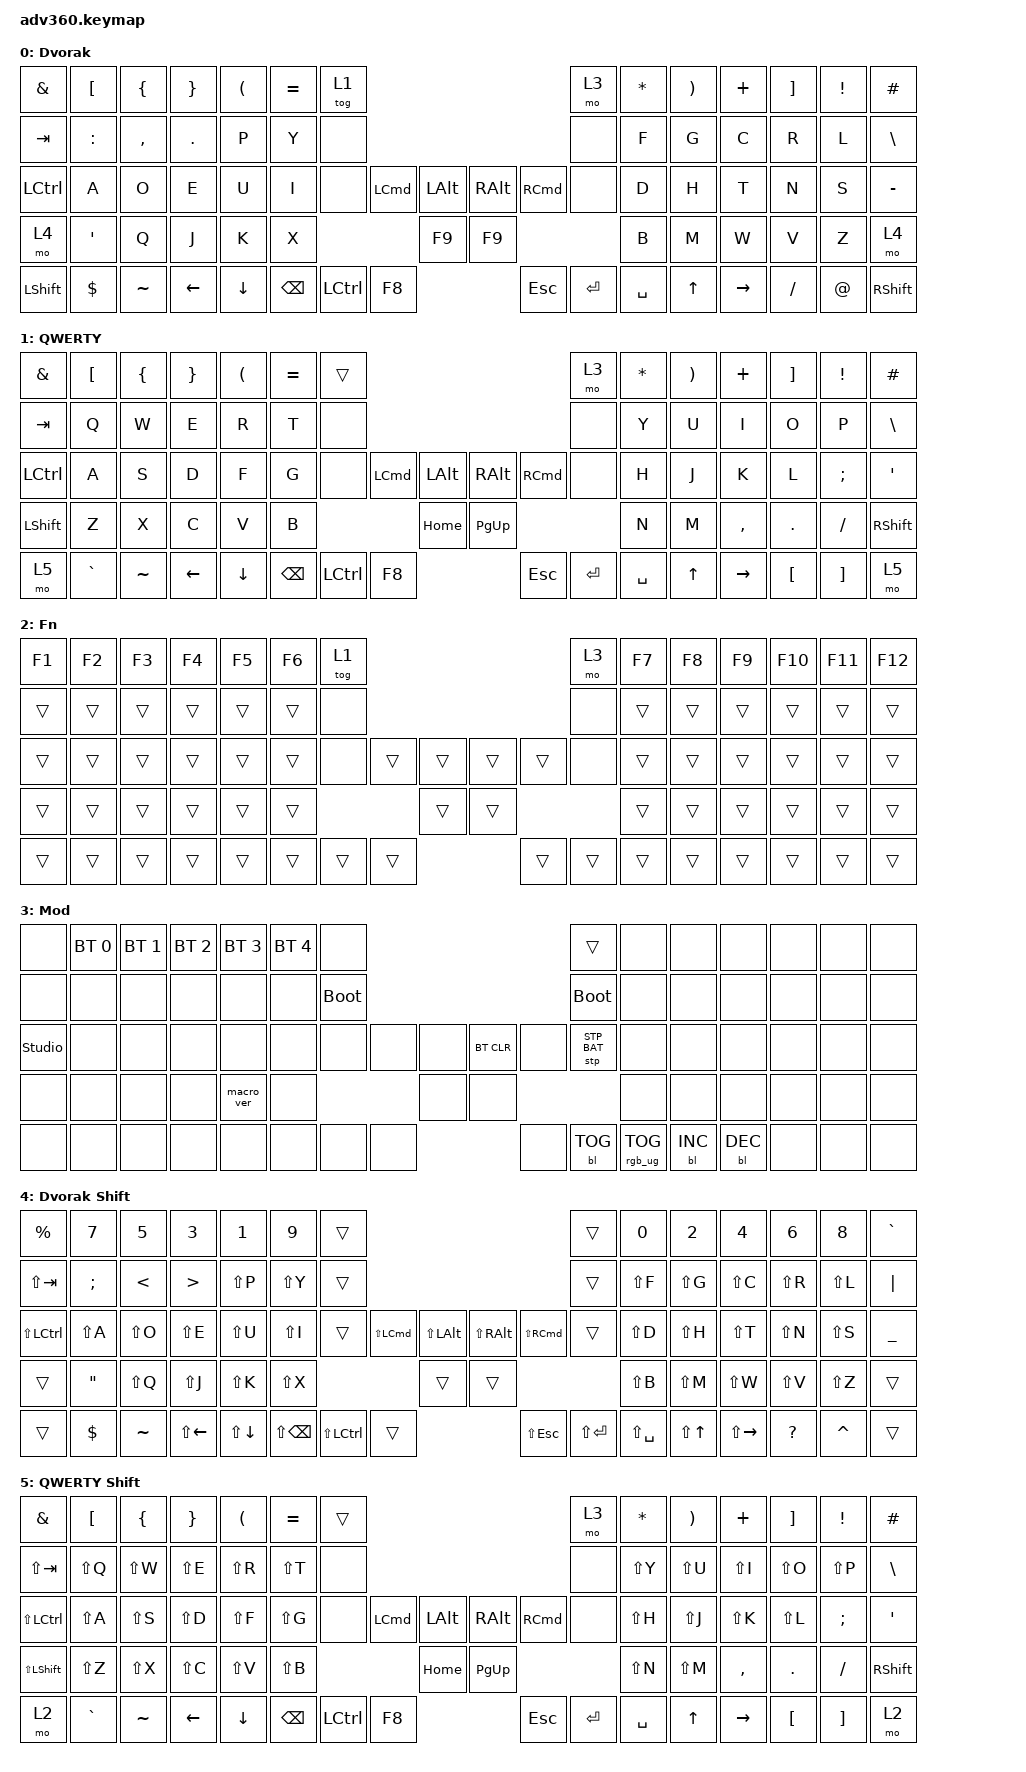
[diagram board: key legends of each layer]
#include <behaviors.dtsi>
#include <dt-bindings/zmk/keys.h>
#include <dt-bindings/zmk/bt.h>
#include <dt-bindings/zmk/rgb.h>
#include <dt-bindings/zmk/stp.h>
#include <dt-bindings/zmk/backlight.h>
#include <dt-bindings/zmk/pointing.h>

/ {
    behaviors {
      #include "macros.dtsi"
      #include "version.dtsi"

      hm: homerow_mods {
          compatible = "zmk,behavior-hold-tap";
          label = "HOMEROW_MODS";
          #binding-cells = <2>;
          tapping-term-ms = <200>;
          quick_tap_ms = <175>;
          flavor = "tap-preferred";
          bindings = <&kp>, <&kp>;
      };
    };

  keymap {
    compatible = "zmk,keymap";

    default_layer {
      display-name = "Dvorak";
      bindings = <
        &kp AMPERSAND &kp LEFT_BRACKET  &kp LEFT_BRACE  &kp RIGHT_BRACE     &kp LEFT_PARENTHESIS &kp EQUAL    &tog 1                                                                                             &mo 3  &kp ASTRK    &kp RIGHT_PARENTHESIS &kp PLUS      &kp RIGHT_BRACKET &kp EXCLAMATION &kp HASH
        &kp TAB       &kp COLON         &kp COMMA       &kp DOT             &kp P                &kp Y        &none                                                                                              &none  &kp F        &kp G                 &kp C         &kp R             &kp L           &kp BSLH
        &kp LCTRL     &kp A             &kp O           &kp E               &kp U                &kp I        &none               &kp LCMD      &kp LALT                    &kp RALT     &kp RCMD                &none  &kp D        &kp H                 &kp T         &kp N             &kp S           &kp MINUS
        &mo 4         &kp SINGLE_QUOTE  &kp Q           &kp J               &kp K                &kp X                                          &kp F9                      &kp F9                                      &kp B        &kp M                 &kp W         &kp V             &kp Z           &mo 4
        &kp LSHIFT    &kp DOLLAR        &kp TILDE       &kp LEFT            &kp DOWN                                 &kp BSPC     &kp LCTRL     &kp F8                      &kp ESCAPE   &kp ENTER     &kp SPACE                     &kp UP                &kp RIGHT     &kp SLASH         &kp AT          &kp RSHIFT
      >;
    };
    keypad {
      display-name = "QWERTY";
      bindings = <
        &kp AMPERSAND &kp LEFT_BRACKET  &kp LEFT_BRACE  &kp RIGHT_BRACE     &kp LEFT_PARENTHESIS &kp EQUAL    &trans                                                                                             &mo 3  &kp ASTRK    &kp RIGHT_PARENTHESIS &kp PLUS      &kp RIGHT_BRACKET &kp EXCLAMATION &kp HASH
        &kp TAB       &kp Q             &kp W           &kp E               &kp R                &kp T        &none                                                                                              &none  &kp Y        &kp U                 &kp I         &kp O             &kp P           &kp BSLH
        &kp LCTRL     &kp A             &kp S           &kp D               &kp F                &kp G        &none               &kp LCMD      &kp LALT                    &kp RALT     &kp RCMD                &none  &kp H        &kp J                 &kp K         &kp L             &kp SEMI        &kp SQT
        &kp LSHFT     &kp Z             &kp X           &kp C               &kp V                &kp B                                          &kp HOME                    &kp PG_UP                                   &kp N        &kp M                 &kp COMMA     &kp DOT           &kp FSLH        &kp RSHFT
        &mo 5         &kp GRAVE         &kp TILDE       &kp LEFT            &kp DOWN                                 &kp BSPC     &kp LCTRL     &kp F8                      &kp ESCAPE   &kp ENTER     &kp SPACE                     &kp UP                &kp RIGHT     &kp LBKT          &kp RBKT        &mo 5
      >;
    };
    fn {
      display-name = "Fn";
      bindings = <
        &kp F1 &kp F2 &kp F3 &kp F4 &kp F5 &kp F6 &tog 1                                           &mo 3 &kp F7 &kp F8 &kp F9 &kp F10 &kp F11 &kp F12
        &trans &trans &trans &trans &trans &trans  &none                                           &none &trans &trans &trans &trans  &trans  &trans
        &trans &trans &trans &trans &trans &trans  &none        &trans &trans &trans &trans        &none &trans &trans &trans &trans  &trans  &trans
        &trans &trans &trans &trans &trans &trans                      &trans &trans                     &trans &trans &trans &trans  &trans  &trans
        &trans &trans &trans &trans &trans               &trans &trans &trans &trans &trans &trans              &trans &trans &trans  &trans  &trans
      >;
    };
    mod {
      display-name = "Mod";
      bindings = <
        &none &bt BT_SEL 0 &bt BT_SEL 1 &bt BT_SEL 2 &bt BT_SEL 3 &bt BT_SEL 4 &none                                                                     &trans                 &none        &none        &none        &none &none &none
        &none &none        &none        &none        &none        &none        &bootloader                                                               &bootloader            &none        &none        &none        &none &none &none
        &studio_unlock &none        &none        &none        &none        &none        &none                   &none &none &bt BT_CLR &none                      &stp STP_BAT &none        &none        &none        &none &none &none
        &none &none        &none        &none        &macro_ver   &none                                      &none &none                                                        &none        &none        &none        &none &none &none
        &none &none        &none        &none        &none                                       &none &none &none &none      &bl BL_TOG &rgb_ug RGB_TOG                                     &bl BL_INC   &bl BL_DEC   &none &none &none
      >;
    };
    shift {
      display-name = "Dvorak Shift";
      bindings = <
        &kp PERCENT   &kp NUMBER_7      &kp NUMBER_5    &kp NUMBER_3        &kp NUMBER_1         &kp NUMBER_9 &trans                                                                                             &trans &kp NUMBER_0 &kp NUMBER_2          &kp NUMBER_4  &kp NUMBER_6      &kp NUMBER_8    &kp GRAVE
        &kp LS(TAB)   &kp SEMICOLON     &kp LESS_THAN   &kp GREATER_THAN    &kp LS(P)            &kp LS(Y)    &trans                                                                                             &trans &kp LS(F)    &kp LS(G)             &kp LS(C)     &kp LS(R)         &kp LS(L)       &kp PIPE
        &kp LS(LCTRL) &kp LS(A)         &kp LS(O)       &kp LS(E)           &kp LS(U)            &kp LS(I)    &trans              &kp LS(LCMD)  &kp LS(LALT)                &kp LS(RALT) &kp LS(RCMD)            &trans &kp LS(D)    &kp LS(H)             &kp LS(T)     &kp LS(N)         &kp LS(S)       &kp UNDERSCORE
        &trans        &kp DOUBLE_QUOTES &kp LS(Q)       &kp LS(J)           &kp LS(K)            &kp LS(X)                                      &trans                      &trans                                      &kp LS(B)    &kp LS(M)             &kp LS(W)     &kp LS(V)         &kp LS(Z)       &trans
        &trans        &kp DOLLAR        &kp TILDE       &kp LS(LEFT)        &kp LS(DOWN)                             &kp LS(BSPC) &kp LS(LCTRL) &trans                      &kp LS(ESC)  &kp LS(ENTER) &kp LS(SPACE)                 &kp LS(UP)            &kp LS(RIGHT) &kp QUESTION      &kp CARET       &trans
      >;
    };
    shift_2 {
      display-name = "QWERTY Shift";
      bindings = <
        &kp AMPERSAND &kp LEFT_BRACKET  &kp LEFT_BRACE  &kp RIGHT_BRACE     &kp LEFT_PARENTHESIS &kp EQUAL    &trans                                                                                             &mo 3  &kp ASTRK    &kp RIGHT_PARENTHESIS &kp PLUS      &kp RIGHT_BRACKET &kp EXCLAMATION &kp HASH
        &kp LS(TAB)   &kp LS(Q)         &kp LS(W)       &kp LS(E)           &kp LS(R)            &kp LS(T)    &none                                                                                              &none  &kp LS(Y)    &kp LS(U)             &kp LS(I)     &kp LS(O)         &kp LS(P)       &kp BSLH
        &kp LS(LCTRL) &kp LS(A)         &kp LS(S)       &kp LS(D)           &kp LS(F)            &kp LS(G)    &none               &kp LCMD      &kp LALT                    &kp RALT     &kp RCMD                &none  &kp LS(H)    &kp LS(J)             &kp LS(K)     &kp LS(L)         &kp SEMI        &kp SQT
        &kp LS(LSHFT) &kp LS(Z)         &kp LS(X)       &kp LS(C)           &kp LS(V)            &kp LS(B)                                      &kp HOME                    &kp PG_UP                                   &kp LS(N)    &kp LS(M)             &kp COMMA     &kp DOT           &kp FSLH        &kp RSHFT
        &mo 2         &kp GRAVE         &kp TILDE       &kp LEFT            &kp DOWN                                 &kp BSPC     &kp LCTRL     &kp F8                      &kp ESCAPE   &kp ENTER     &kp SPACE                     &kp UP                &kp RIGHT     &kp LBKT          &kp RBKT        &mo 2
      >;
    };
    extra1 {
      display-name = "Red";
      status = "reserved";
    };

    extra2 {
      display-name = "Purple";
      status = "reserved";
    };

    extra3 {
      display-name = "Cyan";
      status = "reserved";
    };

    extra4 {
      display-name = "Yellow";
      status = "reserved";
    };
  };
};
